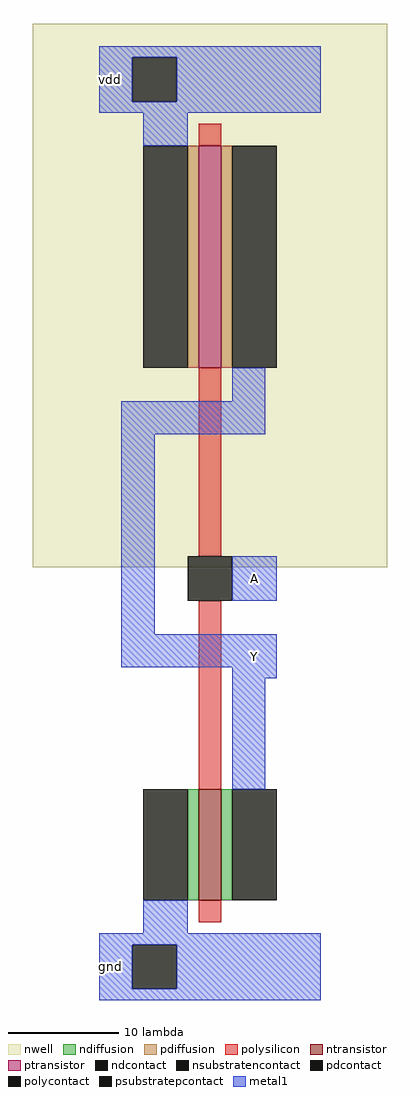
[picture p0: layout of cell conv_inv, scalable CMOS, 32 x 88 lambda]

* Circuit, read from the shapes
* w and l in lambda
.subckt conv_inv A Y vdd gnd
M1 Y A gnd gnd nfet w=10 l=2
M2 Y A vdd vdd pfet w=20 l=2
.ends

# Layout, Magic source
magic
tech scmos
<< nwell >>
rect -6 36 26 85
<< ndiffusion >>
rect 8 6 9 16
rect 11 6 12 16
<< pdiffusion >>
rect 8 54 9 74
rect 11 54 12 74
<< polysilicon >>
rect 9 4 11 6
rect 9 16 11 33
rect 9 37 11 54
rect 9 74 11 76
<< ntransistor >>
rect 9 6 11 16
<< ptransistor >>
rect 9 54 11 74
<< ndcontact >>
rect 4 6 8 16
rect 12 6 16 16
<< pdcontact >>
rect 4 54 8 74
rect 12 54 16 74
<< polycontact >>
rect 8 33 12 37
<< psubstratepcontact >>
rect 3 -2 7 2
<< nsubstratencontact >>
rect 3 78 7 82
<< metal1 >>
rect 0 -3 20 -2
rect 0 -2 3 2
rect 7 -2 20 2
rect 0 2 20 3
rect 4 3 8 6
rect 12 16 15 26
rect 12 26 16 27
rect 2 27 16 30
rect 2 30 5 48
rect 12 33 16 37
rect 2 48 15 51
rect 12 51 15 54
rect 4 74 8 77
rect 0 77 20 78
rect 0 78 3 82
rect 7 78 20 82
rect 0 82 20 83
<< labels >>
rlabel metal1 s 12 33 16 37 0 A
port 1 nsew signal input
rlabel metal1 s 12 26 16 30 0 Y
port 2 nsew signal output
rlabel metal1 s 0 77 2 83 0 vdd
port 3 nsew power bidirectional
rlabel metal1 s 0 -3 2 3 0 gnd
port 4 nsew ground bidirectional
<< properties >>
string FIXED_BBOX 0 0 20 80
<< end >>
